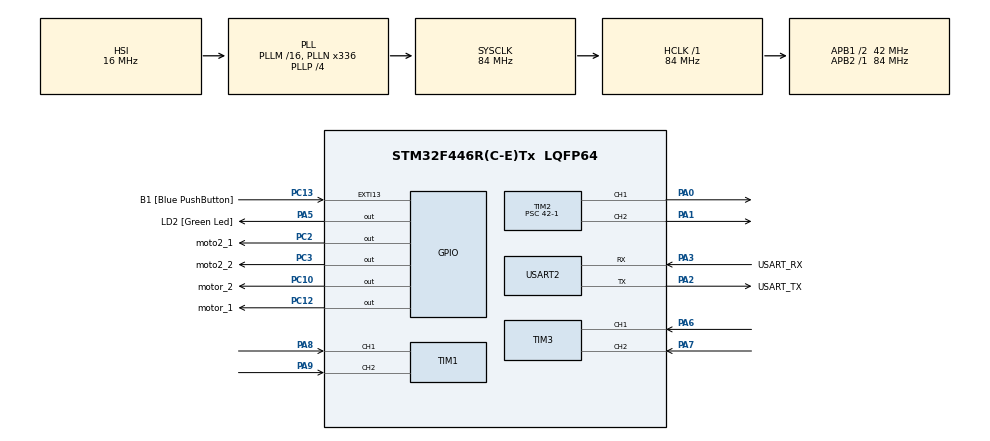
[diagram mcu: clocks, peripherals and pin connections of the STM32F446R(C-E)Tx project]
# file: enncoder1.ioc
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Dma.Request0=USART2_RX
Dma.Request1=USART2_TX
Dma.USART2_RX.0.Direction=DMA_PERIPH_TO_MEMORY
Dma.USART2_RX.0.FIFOMode=DMA_FIFOMODE_DISABLE
Dma.USART2_RX.0.Instance=DMA1_Stream5
Dma.USART2_RX.0.MemDataAlignment=DMA_MDATAALIGN_BYTE
Dma.USART2_RX.0.MemInc=DMA_MINC_ENABLE
Dma.USART2_RX.0.Mode=DMA_NORMAL
Dma.USART2_RX.0.PeriphDataAlignment=DMA_PDATAALIGN_BYTE
Dma.USART2_RX.0.PeriphInc=DMA_PINC_DISABLE
Dma.USART2_RX.0.Priority=DMA_PRIORITY_VERY_HIGH
Dma.USART2_TX.1.Direction=DMA_MEMORY_TO_PERIPH
Dma.USART2_TX.1.FIFOMode=DMA_FIFOMODE_DISABLE
Dma.USART2_TX.1.Instance=DMA1_Stream6
Dma.USART2_TX.1.MemDataAlignment=DMA_MDATAALIGN_BYTE
Dma.USART2_TX.1.MemInc=DMA_MINC_ENABLE
Dma.USART2_TX.1.Mode=DMA_NORMAL
Dma.USART2_TX.1.PeriphDataAlignment=DMA_PDATAALIGN_BYTE
Dma.USART2_TX.1.PeriphInc=DMA_PINC_DISABLE
Dma.USART2_TX.1.Priority=DMA_PRIORITY_VERY_HIGH
FREERTOS.Tasks01=defaultTask,24,3000,StartDefaultTask,Default,NULL,Dynamic,NULL,NULL
Mcu.Family=STM32F4
Mcu.Name=STM32F446R(C-E)Tx
Mcu.Package=LQFP64
NVIC.DMA1_Stream5_IRQn=true\:5\:0\:false\:false\:true\:true\:false\:true\:true
NVIC.DMA1_Stream6_IRQn=true\:5\:0\:false\:false\:true\:true\:false\:true\:true
NVIC.PriorityGroup=NVIC_PRIORITYGROUP_4
NVIC.TIM2_IRQn=true\:5\:0\:false\:false\:true\:true\:true\:true\:true
NVIC.TIM3_IRQn=true\:5\:0\:false\:false\:true\:true\:true\:true\:true
NVIC.TIM4_IRQn=true\:5\:0\:false\:false\:true\:true\:true\:true\:true
NVIC.USART2_IRQn=true\:5\:0\:false\:false\:true\:true\:true\:true\:true
PA0-WKUP.Signal=S_TIM2_CH1_ETR
PA1.Signal=S_TIM2_CH2
PA13.GPIO_Label=TMS
PA13.Mode=Serial_Wire
PA13.Signal=SYS_JTMS-SWDIO
PA14.GPIO_Label=TCK
PA14.Mode=Serial_Wire
PA14.Signal=SYS_JTCK-SWCLK
PA2.GPIO_Label=USART_TX
PA2.Mode=Asynchronous
PA2.Signal=USART2_TX
PA3.GPIO_Label=USART_RX
PA3.Mode=Asynchronous
PA3.Signal=USART2_RX
PA5.GPIO_Label=LD2 [Green Led]
PA5.Signal=GPIO_Output
PA6.Signal=S_TIM3_CH1
PA7.Signal=S_TIM3_CH2
PA8.Signal=S_TIM1_CH1
PA9.Signal=S_TIM1_CH2
PB3.GPIO_Label=SWO
PB3.Signal=SYS_JTDO-SWO
PC10.GPIO_Label=motor_2
PC10.Signal=GPIO_Output
PC12.GPIO_Label=motor_1
PC12.Signal=GPIO_Output
PC13.GPIO_Label=B1 [Blue PushButton]
PC13.GPIO_ModeDefaultEXTI=GPIO_MODE_IT_FALLING
PC13.Signal=GPXTI13
PC14-OSC32_IN.Mode=LSE-External-Oscillator
PC14-OSC32_IN.Signal=RCC_OSC32_IN
PC15-OSC32_OUT.Mode=LSE-External-Oscillator
PC15-OSC32_OUT.Signal=RCC_OSC32_OUT
PC2.GPIO_Label=moto2_1
PC2.Signal=GPIO_Output
PC3.GPIO_Label=moto2_2
PC3.Signal=GPIO_Output
PH0-OSC_IN.Mode=HSE-External-Oscillator
PH0-OSC_IN.Signal=RCC_OSC_IN
PH1-OSC_OUT.Mode=HSE-External-Oscillator
PH1-OSC_OUT.Signal=RCC_OSC_OUT
ProjectManager.HeapSize=0x200
ProjectManager.StackSize=0x400
ProjectManager.TargetToolchain=STM32CubeIDE
RCC.48MHZClocksFreq_Value=84000000
RCC.AHBFreq_Value=84000000
RCC.APB1CLKDivider=RCC_HCLK_DIV2
RCC.APB1Freq_Value=42000000
RCC.APB1TimFreq_Value=84000000
RCC.APB2Freq_Value=84000000
RCC.APB2TimFreq_Value=84000000
RCC.CortexFreq_Value=84000000
RCC.FLatency-AdvancedSettings=FLASH_LATENCY_2
RCC.HCLKFreq_Value=84000000
RCC.HSE_VALUE=8000000
RCC.HSI_VALUE=16000000
RCC.PLLN=336
RCC.PLLP=RCC_PLLP_DIV4
RCC.SYSCLKFreq_VALUE=84000000
RCC.SYSCLKSource=RCC_SYSCLKSOURCE_PLLCLK
RCC.USBFreq_Value=168000000
RCC.VCOOutputFreq_Value=336000000
SH.S_TIM1_CH1.0=TIM1_CH1,Encoder_Interface
SH.S_TIM1_CH2.0=TIM1_CH2,Encoder_Interface
SH.S_TIM2_CH1_ETR.0=TIM2_CH1,PWM Generation1 CH1
SH.S_TIM2_CH2.0=TIM2_CH2,PWM Generation2 CH2
SH.S_TIM3_CH1.0=TIM3_CH1,Encoder_Interface
SH.S_TIM3_CH2.0=TIM3_CH2,Encoder_Interface
TIM2.Channel-PWM\ Generation1\ CH1=TIM_CHANNEL_1
TIM2.Channel-PWM\ Generation2\ CH2=TIM_CHANNEL_2
TIM2.Period=1000-1
TIM2.Prescaler=42-1
TIM3.IC1Filter=5
TIM3.IC2Filter=5
TIM4.Period=100-1
TIM4.Prescaler=8400-1
USART2.VirtualMode=VM_ASYNC
VP_FREERTOS_VS_CMSIS_V2.Mode=CMSIS_V2
VP_TIM4_VS_ClockSourceINT.Mode=Internal
board=NUCLEO-F446RE

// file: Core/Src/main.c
/* USER CODE BEGIN Header */
/**
  ******************************************************************************
  * @file           : main.c
  * @brief          : Main program body
  ******************************************************************************
  * @attention
  *
  * Copyright (c) 2025 STMicroelectronics.
  * All rights reserved.
  *
  * This software is licensed under terms that can be found in the LICENSE file
  * in the root directory of this software component.
  * If no LICENSE file comes with this software, it is provided AS-IS.
  *
  ******************************************************************************
  */
/* USER CODE END Header */
#include "main.h"
#include "cmsis_os.h"
#include "stdio.h"
#include "math.h"
#include "motor_encoder.h"
#include "string.h"

/* USER CODE BEGIN Includes */
#include <rcl/rcl.h>
#include <rcl/error_handling.h>
#include <rclc/rclc.h>
#include <rclc/executor.h>
#include <uxr/client/transport.h>
#include <rmw_microxrcedds_c/config.h>
#include <rmw_microros/rmw_microros.h>

#include <std_msgs/msg/float32.h>

/* USER CODE END Includes */

/* USER CODE BEGIN PM */
#define ROBOT_ENCODER_CPR 2248.86f
#define PI 3.14159265f

/* USER CODE END PM */

TIM_HandleTypeDef htim1;
TIM_HandleTypeDef htim2;
TIM_HandleTypeDef htim3;
TIM_HandleTypeDef htim4;

UART_HandleTypeDef huart2;
DMA_HandleTypeDef hdma_usart2_rx;
DMA_HandleTypeDef hdma_usart2_tx;

/* Definitions for defaultTask */
osThreadId_t defaultTaskHandle;
const osThreadAttr_t defaultTask_attributes = {
  .name = "defaultTask",
  .stack_size = 3000 * 4,
  .priority = (osPriority_t) osPriorityNormal,
};
/* USER CODE BEGIN PV */
encoder_str enc_instance;

/* USER CODE END PV */

void SystemClock_Config(void);
static void MX_GPIO_Init(void);
static void MX_DMA_Init(void);
static void MX_USART2_UART_Init(void);
static void MX_TIM1_Init(void);
static void MX_TIM2_Init(void);
static void MX_TIM3_Init(void);
static void MX_TIM4_Init(void);
void StartDefaultTask(void *argument);

/* USER CODE BEGIN 0 */
int16_t encoder_velocity;
int64_t encoder_position;
int32_t timer_counter;
float encoder_acisal;
float encoder_rpm;

void HAL_TIM_PeriodElapsedCallback(TIM_HandleTypeDef *htim)
 {
	if (htim->Instance == TIM4) //0,01 (10ms) saniyede bir
	{
		//timer_counter = __HAL_TIM_GET_COUNTER(&htim3);
	    update_encoder(&enc_instance, &htim3);
		//encoder_position = enc_instance.position;
		//encoder_velocity = enc_instance.velocity;
	    calculate_velocity(&enc_instance, 0.01f);
	    encoder_acisal = enc_instance.rad_s;
	    encoder_rpm = enc_instance.rpm;

	}

 }

/* USER CODE END 0 */

int main(void)
{

  /* MCU Configuration--------------------------------------------------------*/

  /* Reset of all peripherals, Initializes the Flash interface and the Systick. */
  HAL_Init();

  /* Configure the system clock */
  SystemClock_Config();

  /* Initialize all configured peripherals */
  MX_GPIO_Init();
  MX_DMA_Init();
  MX_USART2_UART_Init();
  MX_TIM1_Init();
  MX_TIM2_Init();
  MX_TIM3_Init();
  MX_TIM4_Init();
  /* USER CODE BEGIN 2 */
  HAL_TIM_Encoder_Start(&htim3, TIM_CHANNEL_ALL);

  HAL_TIM_PWM_Start(&htim2,TIM_CHANNEL_1);

  HAL_TIM_Base_Start_IT(&htim4);

  //HAL_TIM_PWM_Start(&htim2,TIM_CHANNEL_2);
  //
  //__HAL_TIM_SET_COMPARE(&htim2,TIM_CHANNEL_2,0);
  //__HAL_TIM_SET_COMPARE(&htim2,TIM_CHANNEL_1,700);
  //
  //
  //HAL_GPIO_WritePin(motor_1_GPIO_Port, motor_1_Pin, 0);
  //HAL_GPIO_WritePin(motor_2_GPIO_Port, motor_2_Pin, 1);
  //
  //
  HAL_GPIO_WritePin(moto2_1_GPIO_Port, moto2_1_Pin, 1);
  HAL_GPIO_WritePin(moto2_2_GPIO_Port, moto2_2_Pin, 0);
  //sag motor ch1

  __HAL_TIM_SET_COMPARE(&htim2,TIM_CHANNEL_1,1000);

  /* USER CODE END 2 */

  /* Init scheduler */
  osKernelInitialize();

  /* Create the thread(s) */
  /* creation of defaultTask */
  defaultTaskHandle = osThreadNew(StartDefaultTask, NULL, &defaultTask_attributes);

  /* Start scheduler */
  osKernelStart();

  /* We should never get here as control is now taken by the scheduler */

  /* Infinite loop */
  /* USER CODE BEGIN WHILE */
  uint32_t baslangic_zamani = HAL_GetTick();
  uint32_t gecen_sure = 0;
  int16_t pwm_hedef = 0;

  // Veri gönderme zamanlayıcısı
  uint32_t log_zamani = 0;

  while (1)
  {
    /* USER CODE END WHILE */

  }
}

void SystemClock_Config(void)
{
  RCC_OscInitTypeDef RCC_OscInitStruct = {0};
  RCC_ClkInitTypeDef RCC_ClkInitStruct = {0};

  /** Configure the main internal regulator output voltage
  */
  __HAL_RCC_PWR_CLK_ENABLE();
  __HAL_PWR_VOLTAGESCALING_CONFIG(PWR_REGULATOR_VOLTAGE_SCALE3);

  /** Initializes the RCC Oscillators according to the specified parameters
  * in the RCC_OscInitTypeDef structure.
  */
  RCC_OscInitStruct.OscillatorType = RCC_OSCILLATORTYPE_HSI;
  RCC_OscInitStruct.HSIState = RCC_HSI_ON;
  RCC_OscInitStruct.HSICalibrationValue = RCC_HSICALIBRATION_DEFAULT;
  RCC_OscInitStruct.PLL.PLLState = RCC_PLL_ON;
  RCC_OscInitStruct.PLL.PLLSource = RCC_PLLSOURCE_HSI;
  RCC_OscInitStruct.PLL.PLLM = 16;
  RCC_OscInitStruct.PLL.PLLN = 336;
  RCC_OscInitStruct.PLL.PLLP = RCC_PLLP_DIV4;
  RCC_OscInitStruct.PLL.PLLQ = 2;
  RCC_OscInitStruct.PLL.PLLR = 2;
  if (HAL_RCC_OscConfig(&RCC_OscInitStruct) != HAL_OK)
  {
    Error_Handler();
  }

  /** Initializes the CPU, AHB and APB buses clocks
  */
  RCC_ClkInitStruct.ClockType = RCC_CLOCKTYPE_HCLK|RCC_CLOCKTYPE_SYSCLK
                              |RCC_CLOCKTYPE_PCLK1|RCC_CLOCKTYPE_PCLK2;
  RCC_ClkInitStruct.SYSCLKSource = RCC_SYSCLKSOURCE_PLLCLK;
  RCC_ClkInitStruct.AHBCLKDivider = RCC_SYSCLK_DIV1;
  RCC_ClkInitStruct.APB1CLKDivider = RCC_HCLK_DIV2;
  RCC_ClkInitStruct.APB2CLKDivider = RCC_HCLK_DIV1;

  if (HAL_RCC_ClockConfig(&RCC_ClkInitStruct, FLASH_LATENCY_2) != HAL_OK)
  {
    Error_Handler();
  }
}

static void MX_TIM1_Init(void)
{

  TIM_Encoder_InitTypeDef sConfig = {0};
  TIM_MasterConfigTypeDef sMasterConfig = {0};

  htim1.Instance = TIM1;
  htim1.Init.Prescaler = 0;
  htim1.Init.CounterMode = TIM_COUNTERMODE_UP;
  htim1.Init.Period = 65535;
  htim1.Init.ClockDivision = TIM_CLOCKDIVISION_DIV1;
  htim1.Init.RepetitionCounter = 0;
  htim1.Init.AutoReloadPreload = TIM_AUTORELOAD_PRELOAD_DISABLE;
  sConfig.EncoderMode = TIM_ENCODERMODE_TI1;
  sConfig.IC1Polarity = TIM_ICPOLARITY_RISING;
  sConfig.IC1Selection = TIM_ICSELECTION_DIRECTTI;
  sConfig.IC1Prescaler = TIM_ICPSC_DIV1;
  sConfig.IC1Filter = 0;
  sConfig.IC2Polarity = TIM_ICPOLARITY_RISING;
  sConfig.IC2Selection = TIM_ICSELECTION_DIRECTTI;
  sConfig.IC2Prescaler = TIM_ICPSC_DIV1;
  sConfig.IC2Filter = 0;
  if (HAL_TIM_Encoder_Init(&htim1, &sConfig) != HAL_OK)
  {
    Error_Handler();
  }
  sMasterConfig.MasterOutputTrigger = TIM_TRGO_RESET;
  sMasterConfig.MasterSlaveMode = TIM_MASTERSLAVEMODE_DISABLE;
  if (HAL_TIMEx_MasterConfigSynchronization(&htim1, &sMasterConfig) != HAL_OK)
  {
    Error_Handler();
  }

}

static void MX_TIM2_Init(void)
{

  TIM_MasterConfigTypeDef sMasterConfig = {0};
  TIM_OC_InitTypeDef sConfigOC = {0};

  htim2.Instance = TIM2;
  htim2.Init.Prescaler = 42-1;
  htim2.Init.CounterMode = TIM_COUNTERMODE_UP;
  htim2.Init.Period = 1000-1;
  htim2.Init.ClockDivision = TIM_CLOCKDIVISION_DIV1;
  htim2.Init.AutoReloadPreload = TIM_AUTORELOAD_PRELOAD_DISABLE;
  if (HAL_TIM_PWM_Init(&htim2) != HAL_OK)
  {
    Error_Handler();
  }
  sMasterConfig.MasterOutputTrigger = TIM_TRGO_RESET;
  sMasterConfig.MasterSlaveMode = TIM_MASTERSLAVEMODE_DISABLE;
  if (HAL_TIMEx_MasterConfigSynchronization(&htim2, &sMasterConfig) != HAL_OK)
  {
    Error_Handler();
  }
  sConfigOC.OCMode = TIM_OCMODE_PWM1;
  sConfigOC.Pulse = 0;
  sConfigOC.OCPolarity = TIM_OCPOLARITY_HIGH;
  sConfigOC.OCFastMode = TIM_OCFAST_DISABLE;
  if (HAL_TIM_PWM_ConfigChannel(&htim2, &sConfigOC, TIM_CHANNEL_1) != HAL_OK)
  {
    Error_Handler();
  }
  if (HAL_TIM_PWM_ConfigChannel(&htim2, &sConfigOC, TIM_CHANNEL_2) != HAL_OK)
  {
    Error_Handler();
  }
  HAL_TIM_MspPostInit(&htim2);

}

static void MX_TIM3_Init(void)
{

  TIM_Encoder_InitTypeDef sConfig = {0};
  TIM_MasterConfigTypeDef sMasterConfig = {0};

  htim3.Instance = TIM3;
  htim3.Init.Prescaler = 0;
  htim3.Init.CounterMode = TIM_COUNTERMODE_UP;
  htim3.Init.Period = 65535;
  htim3.Init.ClockDivision = TIM_CLOCKDIVISION_DIV1;
  htim3.Init.AutoReloadPreload = TIM_AUTORELOAD_PRELOAD_DISABLE;
  sConfig.EncoderMode = TIM_ENCODERMODE_TI1;
  sConfig.IC1Polarity = TIM_ICPOLARITY_RISING;
  sConfig.IC1Selection = TIM_ICSELECTION_DIRECTTI;
  sConfig.IC1Prescaler = TIM_ICPSC_DIV1;
  sConfig.IC1Filter = 5;
  sConfig.IC2Polarity = TIM_ICPOLARITY_RISING;
  sConfig.IC2Selection = TIM_ICSELECTION_DIRECTTI;
  sConfig.IC2Prescaler = TIM_ICPSC_DIV1;
  sConfig.IC2Filter = 5;
  if (HAL_TIM_Encoder_Init(&htim3, &sConfig) != HAL_OK)
  {
    Error_Handler();
  }
  sMasterConfig.MasterOutputTrigger = TIM_TRGO_RESET;
  sMasterConfig.MasterSlaveMode = TIM_MASTERSLAVEMODE_DISABLE;
  if (HAL_TIMEx_MasterConfigSynchronization(&htim3, &sMasterConfig) != HAL_OK)
  {
    Error_Handler();
  }

}

static void MX_TIM4_Init(void)
{

  TIM_ClockConfigTypeDef sClockSourceConfig = {0};
  TIM_MasterConfigTypeDef sMasterConfig = {0};

  htim4.Instance = TIM4;
  htim4.Init.Prescaler = 8400-1;
  htim4.Init.CounterMode = TIM_COUNTERMODE_UP;
  htim4.Init.Period = 100-1;
  htim4.Init.ClockDivision = TIM_CLOCKDIVISION_DIV1;
  htim4.Init.AutoReloadPreload = TIM_AUTORELOAD_PRELOAD_DISABLE;
  if (HAL_TIM_Base_Init(&htim4) != HAL_OK)
  {
    Error_Handler();
  }
  sClockSourceConfig.ClockSource = TIM_CLOCKSOURCE_INTERNAL;
  if (HAL_TIM_ConfigClockSource(&htim4, &sClockSourceConfig) != HAL_OK)
  {
    Error_Handler();
  }
  sMasterConfig.MasterOutputTrigger = TIM_TRGO_RESET;
  sMasterConfig.MasterSlaveMode = TIM_MASTERSLAVEMODE_DISABLE;
  if (HAL_TIMEx_MasterConfigSynchronization(&htim4, &sMasterConfig) != HAL_OK)
  {
    Error_Handler();
  }

}

static void MX_USART2_UART_Init(void)
{

  huart2.Instance = USART2;
  huart2.Init.BaudRate = 115200;
  huart2.Init.WordLength = UART_WORDLENGTH_8B;
  huart2.Init.StopBits = UART_STOPBITS_1;
  huart2.Init.Parity = UART_PARITY_NONE;
  huart2.Init.Mode = UART_MODE_TX_RX;
  huart2.Init.HwFlowCtl = UART_HWCONTROL_NONE;
  huart2.Init.OverSampling = UART_OVERSAMPLING_16;
  if (HAL_UART_Init(&huart2) != HAL_OK)
  {
    Error_Handler();
  }

}

static void MX_DMA_Init(void)
{

  /* DMA controller clock enable */
  __HAL_RCC_DMA1_CLK_ENABLE();

  /* DMA interrupt init */
  /* DMA1_Stream5_IRQn interrupt configuration */
  HAL_NVIC_SetPriority(DMA1_Stream5_IRQn, 5, 0);
  HAL_NVIC_EnableIRQ(DMA1_Stream5_IRQn);
  /* DMA1_Stream6_IRQn interrupt configuration */
  HAL_NVIC_SetPriority(DMA1_Stream6_IRQn, 5, 0);
  HAL_NVIC_EnableIRQ(DMA1_Stream6_IRQn);

}

static void MX_GPIO_Init(void)
{
  GPIO_InitTypeDef GPIO_InitStruct = {0};

  /* GPIO Ports Clock Enable */
  __HAL_RCC_GPIOC_CLK_ENABLE();
  __HAL_RCC_GPIOH_CLK_ENABLE();
  __HAL_RCC_GPIOA_CLK_ENABLE();
  __HAL_RCC_GPIOB_CLK_ENABLE();

  /*Configure GPIO pin Output Level */
  HAL_GPIO_WritePin(GPIOC, moto2_1_Pin|moto2_2_Pin|motor_2_Pin|motor_1_Pin, GPIO_PIN_RESET);

  /*Configure GPIO pin Output Level */
  HAL_GPIO_WritePin(LD2_GPIO_Port, LD2_Pin, GPIO_PIN_RESET);

  /*Configure GPIO pin : B1_Pin */
  GPIO_InitStruct.Pin = B1_Pin;
  GPIO_InitStruct.Mode = GPIO_MODE_IT_FALLING;
  GPIO_InitStruct.Pull = GPIO_NOPULL;
  HAL_GPIO_Init(B1_GPIO_Port, &GPIO_InitStruct);

  /*Configure GPIO pins : moto2_1_Pin moto2_2_Pin motor_2_Pin motor_1_Pin */
  GPIO_InitStruct.Pin = moto2_1_Pin|moto2_2_Pin|motor_2_Pin|motor_1_Pin;
  GPIO_InitStruct.Mode = GPIO_MODE_OUTPUT_PP;
  GPIO_InitStruct.Pull = GPIO_NOPULL;
  GPIO_InitStruct.Speed = GPIO_SPEED_FREQ_LOW;
  HAL_GPIO_Init(GPIOC, &GPIO_InitStruct);

  /*Configure GPIO pin : LD2_Pin */
  GPIO_InitStruct.Pin = LD2_Pin;
  GPIO_InitStruct.Mode = GPIO_MODE_OUTPUT_PP;
  GPIO_InitStruct.Pull = GPIO_NOPULL;
  GPIO_InitStruct.Speed = GPIO_SPEED_FREQ_LOW;
  HAL_GPIO_Init(LD2_GPIO_Port, &GPIO_InitStruct);

}

/* USER CODE BEGIN 4 */
bool cubemx_transport_open(struct uxrCustomTransport * transport);
bool cubemx_transport_close(struct uxrCustomTransport * transport);
size_t cubemx_transport_write(struct uxrCustomTransport* transport, const uint8_t * buf, size_t len, uint8_t * err);
size_t cubemx_transport_read(struct uxrCustomTransport* transport, uint8_t* buf, size_t len, int timeout, uint8_t* err);

void * microros_allocate(size_t size, void * state);
void microros_deallocate(void * pointer, void * state);
void * microros_reallocate(void * pointer, size_t size, void * state);
void * microros_zero_allocate(size_t number_of_elements, size_t size_of_element, void * state);
/* USER CODE END 4 */

void StartDefaultTask(void *argument)
{
  /* USER CODE BEGIN 5 */

	  // micro-ROS configuration

	  rmw_uros_set_custom_transport(
	    true,
	    (void *) &huart2 ,
	    cubemx_transport_open,
	    cubemx_transport_close,
	    cubemx_transport_write,
	    cubemx_transport_read);

	  rcl_allocator_t freeRTOS_allocator = rcutils_get_zero_initialized_allocator();
	  freeRTOS_allocator.allocate = microros_allocate;
	  freeRTOS_allocator.deallocate = microros_deallocate;
	  freeRTOS_allocator.reallocate = microros_reallocate;
	  freeRTOS_allocator.zero_allocate =  microros_zero_allocate;

	  if (!rcutils_set_default_allocator(&freeRTOS_allocator)) {
	      printf("Error on default allocators (line %d)\n", __LINE__);
	  }

	  // micro-ROS app

	  rcl_publisher_t publisher;
	    std_msgs__msg__Float32 msg; // Int32 yerine Float32
	    rclc_support_t support;
	    rcl_allocator_t allocator;
	    rcl_node_t node;

	    allocator = rcl_get_default_allocator();

	    // 2. Node Oluşturma
	    rclc_support_init(&support, 0, NULL, &allocator);
	    rclc_node_init_default(&node, "stm32_node", "", &support);

	    // 3. Publisher Oluşturma (Topic: /wheel_speed)
	    rclc_publisher_init_default(
	      &publisher,
	      &node,
	      ROSIDL_GET_MSG_TYPE_SUPPORT(std_msgs, msg, Float32), // Float32 tipinde
	      "/wheel_speed"); // Senin istediğin topic ismi

	    // 4. Sonsuz Döngü
	    for(;;)
	    {
	      // TIM4 kesmesinde hesaplanan en güncel hızı global değişkenden al
	      // Not: encoder_acisal değişkeni float olduğu için msg.data'ya direkt atabiliriz.
	      msg.data = encoder_acisal;

	      // Veriyi Yayınla
	      rcl_ret_t ret = rcl_publish(&publisher, &msg, NULL);

	      // Hata kontrolü (Opsiyonel ama iyi olur)
	      if (ret != RCL_RET_OK)
	      {
	        // Hata durumunda ne yapılacağı (şimdilik boş kalsın)
	      }

	      // 100 ms bekle (Saniyede 10 veri gönderir)
	      // TIM4 hesaplaması 10ms'de bir devam eder, biz sadece son durumu 100ms'de bir raporlarız.
	      osDelay(100);
	    }
	    /* USER CODE END 5 */
  /* USER CODE END 5 */
}

void Error_Handler(void)
{
  __disable_irq();
  while (1)
  {
  }
}
